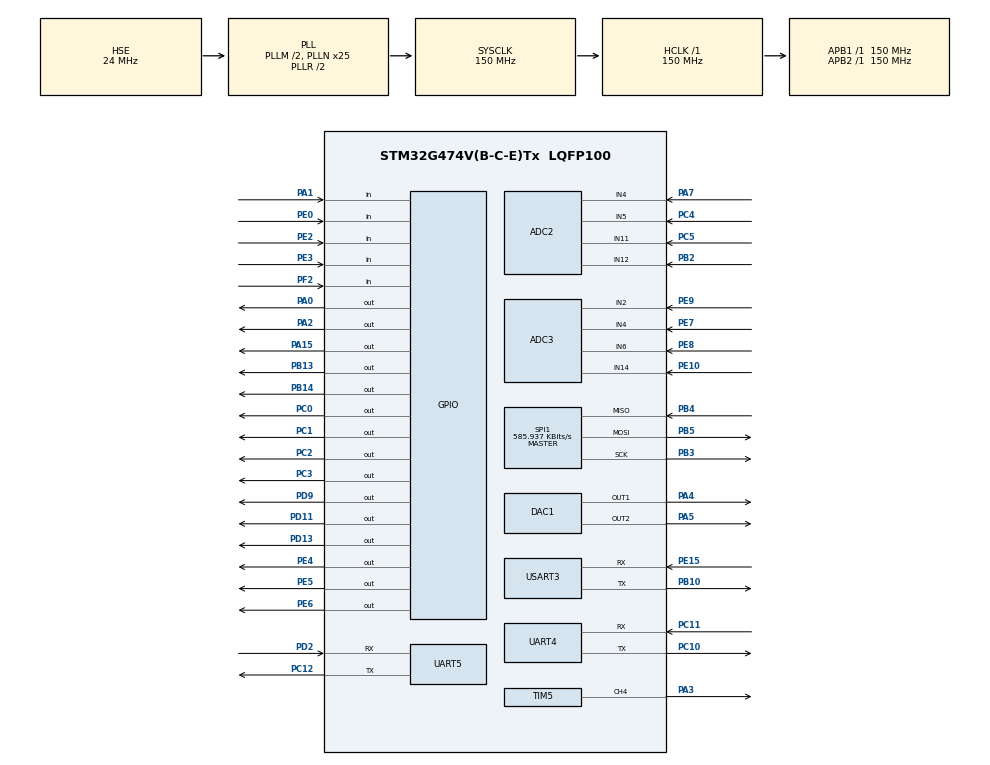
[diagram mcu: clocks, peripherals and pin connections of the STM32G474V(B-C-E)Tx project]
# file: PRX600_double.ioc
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ADC2.Channel-0\#ChannelRegularConversion=ADC_CHANNEL_4
ADC2.Channel-1\#ChannelRegularConversion=ADC_CHANNEL_11
ADC2.Channel-2\#ChannelRegularConversion=ADC_CHANNEL_12
ADC2.Channel-3\#ChannelRegularConversion=ADC_CHANNEL_5
ADC2.DMAContinuousRequests=ENABLE
ADC2.DiscontinuousConvMode=DISABLE
ADC2.ExternalTrigConv=ADC_EXTERNALTRIG_T2_TRGO
ADC2.NbrOfConversion=4
ADC2.NbrOfConversionFlag=1
ADC2.OffsetNumber-0\#ChannelRegularConversion=ADC_OFFSET_NONE
ADC2.OffsetNumber-1\#ChannelRegularConversion=ADC_OFFSET_NONE
ADC2.OffsetNumber-2\#ChannelRegularConversion=ADC_OFFSET_NONE
ADC2.OffsetNumber-3\#ChannelRegularConversion=ADC_OFFSET_NONE
ADC2.Overrun=ADC_OVR_DATA_OVERWRITTEN
ADC2.OversamplingMode=DISABLE
ADC2.Rank-0\#ChannelRegularConversion=1
ADC2.Rank-1\#ChannelRegularConversion=2
ADC2.Rank-2\#ChannelRegularConversion=3
ADC2.Rank-3\#ChannelRegularConversion=4
ADC2.SamplingTime-0\#ChannelRegularConversion=ADC_SAMPLETIME_24CYCLES_5
ADC2.SamplingTime-1\#ChannelRegularConversion=ADC_SAMPLETIME_24CYCLES_5
ADC2.SamplingTime-2\#ChannelRegularConversion=ADC_SAMPLETIME_24CYCLES_5
ADC2.SamplingTime-3\#ChannelRegularConversion=ADC_SAMPLETIME_24CYCLES_5
ADC3.Channel-0\#ChannelRegularConversion=ADC_CHANNEL_14
ADC3.Channel-1\#ChannelRegularConversion=ADC_CHANNEL_4
ADC3.Channel-2\#ChannelRegularConversion=ADC_CHANNEL_2
ADC3.Channel-3\#ChannelRegularConversion=ADC_CHANNEL_6
ADC3.ClockPrescaler=ADC_CLOCK_SYNC_PCLK_DIV4
ADC3.ContinuousConvMode=DISABLE
ADC3.DMAContinuousRequests=ENABLE
ADC3.DiscontinuousConvMode=DISABLE
ADC3.ExternalTrigConv=ADC_EXTERNALTRIG_T2_TRGO
ADC3.NbrOfConversion=4
ADC3.NbrOfConversionFlag=1
ADC3.OffsetNumber-0\#ChannelRegularConversion=ADC_OFFSET_NONE
ADC3.OffsetNumber-1\#ChannelRegularConversion=ADC_OFFSET_NONE
ADC3.OffsetNumber-2\#ChannelRegularConversion=ADC_OFFSET_NONE
ADC3.OffsetNumber-3\#ChannelRegularConversion=ADC_OFFSET_NONE
ADC3.Overrun=ADC_OVR_DATA_OVERWRITTEN
ADC3.OversamplingMode=DISABLE
ADC3.Rank-0\#ChannelRegularConversion=1
ADC3.Rank-1\#ChannelRegularConversion=2
ADC3.Rank-2\#ChannelRegularConversion=3
ADC3.Rank-3\#ChannelRegularConversion=4
ADC3.SamplingTime-0\#ChannelRegularConversion=ADC_SAMPLETIME_24CYCLES_5
ADC3.SamplingTime-1\#ChannelRegularConversion=ADC_SAMPLETIME_24CYCLES_5
ADC3.SamplingTime-2\#ChannelRegularConversion=ADC_SAMPLETIME_24CYCLES_5
ADC3.SamplingTime-3\#ChannelRegularConversion=ADC_SAMPLETIME_24CYCLES_5
ADC3.master=1
DAC1.DAC_Channel-DAC_OUT2=DAC_CHANNEL_2
DAC1.DAC_OutputBuffer-DAC_OUT1=DAC_OUTPUTBUFFER_DISABLE
DAC1.DAC_OutputBuffer-DAC_OUT2=DAC_OUTPUTBUFFER_DISABLE
Dma.ADC2.0.Direction=DMA_PERIPH_TO_MEMORY
Dma.ADC2.0.EventEnable=DISABLE
Dma.ADC2.0.Instance=DMA1_Channel2
Dma.ADC2.0.MemDataAlignment=DMA_MDATAALIGN_HALFWORD
Dma.ADC2.0.MemInc=DMA_MINC_ENABLE
Dma.ADC2.0.Mode=DMA_CIRCULAR
Dma.ADC2.0.PeriphDataAlignment=DMA_PDATAALIGN_HALFWORD
Dma.ADC2.0.PeriphInc=DMA_PINC_DISABLE
Dma.ADC2.0.Polarity=HAL_DMAMUX_REQ_GEN_RISING
Dma.ADC2.0.Priority=DMA_PRIORITY_LOW
Dma.ADC2.0.RequestNumber=1
Dma.ADC2.0.SignalID=NONE
Dma.ADC2.0.SyncEnable=DISABLE
Dma.ADC2.0.SyncPolarity=HAL_DMAMUX_SYNC_NO_EVENT
Dma.ADC2.0.SyncRequestNumber=1
Dma.ADC2.0.SyncSignalID=NONE
Dma.ADC3.1.Direction=DMA_PERIPH_TO_MEMORY
Dma.ADC3.1.EventEnable=DISABLE
Dma.ADC3.1.Instance=DMA2_Channel2
Dma.ADC3.1.MemDataAlignment=DMA_MDATAALIGN_HALFWORD
Dma.ADC3.1.MemInc=DMA_MINC_ENABLE
Dma.ADC3.1.Mode=DMA_CIRCULAR
Dma.ADC3.1.PeriphDataAlignment=DMA_PDATAALIGN_HALFWORD
Dma.ADC3.1.PeriphInc=DMA_PINC_DISABLE
Dma.ADC3.1.Polarity=HAL_DMAMUX_REQ_GEN_RISING
Dma.ADC3.1.Priority=DMA_PRIORITY_LOW
Dma.ADC3.1.RequestNumber=1
Dma.ADC3.1.SignalID=NONE
Dma.ADC3.1.SyncEnable=DISABLE
Dma.ADC3.1.SyncPolarity=HAL_DMAMUX_SYNC_NO_EVENT
Dma.ADC3.1.SyncRequestNumber=1
Dma.ADC3.1.SyncSignalID=NONE
Dma.Request0=ADC2
Dma.Request1=ADC3
Mcu.Family=STM32G4
Mcu.Name=STM32G474V(B-C-E)Tx
Mcu.Package=LQFP100
NVIC.DMA1_Channel2_IRQn=true\:0\:0\:false\:false\:true\:false\:true\:true
NVIC.DMA2_Channel2_IRQn=true\:0\:0\:false\:false\:true\:false\:true\:true
NVIC.PriorityGroup=NVIC_PRIORITYGROUP_4
NVIC.SPI1_IRQn=true\:0\:0\:false\:false\:true\:true\:true\:true
NVIC.TIM2_IRQn=true\:0\:0\:false\:false\:true\:true\:true\:true
NVIC.TIM6_DAC_IRQn=true\:0\:0\:false\:false\:true\:true\:true\:true
NVIC.UART4_IRQn=true\:0\:0\:false\:false\:true\:true\:true\:true
NVIC.UART5_IRQn=true\:0\:0\:false\:false\:true\:true\:true\:true
NVIC.USART3_IRQn=true\:0\:0\:false\:false\:true\:true\:true\:true
PA0.PinState=GPIO_PIN_SET
PA0.Signal=GPIO_Output
PA1.Signal=GPIO_Input
PA13.Mode=Serial_Wire
PA13.Signal=SYS_JTMS-SWDIO
PA14.Mode=Serial_Wire
PA14.Signal=SYS_JTCK-SWCLK
PA15.Signal=GPIO_Output
PA2.Signal=GPIO_Output
PA3.Signal=S_TIM5_CH4
PA4.Signal=COMP_DAC11_group
PA5.Signal=COMP_DAC12_group
PA7.Mode=IN4-Single-Ended
PA7.Signal=ADC2_IN4
PB10.Mode=Asynchronous
PB10.Signal=USART3_TX
PB13.Signal=GPIO_Output
PB14.Signal=GPIO_Output
PB2.Mode=IN12-Single-Ended
PB2.Signal=ADC2_IN12
PB3.Mode=Full_Duplex_Master
PB3.Signal=SPI1_SCK
PB4.Mode=Full_Duplex_Master
PB4.Signal=SPI1_MISO
PB5.Mode=Full_Duplex_Master
PB5.Signal=SPI1_MOSI
PC0.Signal=GPIO_Output
PC1.PinState=GPIO_PIN_SET
PC1.Signal=GPIO_Output
PC10.Mode=Asynchronous
PC10.Signal=UART4_TX
PC11.Mode=Asynchronous
PC11.Signal=UART4_RX
PC12.Mode=Asynchronous
PC12.Signal=UART5_TX
PC2.Signal=GPIO_Output
PC3.Signal=GPIO_Output
PC4.Mode=IN5-Single-Ended
PC4.Signal=ADC2_IN5
PC5.Mode=IN11-Single-Ended
PC5.Signal=ADC2_IN11
PD11.Signal=GPIO_Output
PD13.Signal=GPIO_Output
PD2.Mode=Asynchronous
PD2.Signal=UART5_RX
PD9.Signal=GPIO_Output
PE0.Signal=GPIO_Input
PE10.Mode=IN14-Single-Ended
PE10.Signal=ADC3_IN14
PE15.Mode=Asynchronous
PE15.Signal=USART3_RX
PE2.Signal=GPIO_Input
PE3.Signal=GPIO_Input
PE4.PinState=GPIO_PIN_SET
PE4.Signal=GPIO_Output
PE5.PinState=GPIO_PIN_SET
PE5.Signal=GPIO_Output
PE6.PinState=GPIO_PIN_SET
PE6.Signal=GPIO_Output
PE7.Mode=IN4-Single-Ended
PE7.Signal=ADC3_IN4
PE8.Mode=IN6-Single-Ended
PE8.Signal=ADC3_IN6
PE9.Mode=IN2-Single-Ended
PE9.Signal=ADC3_IN2
PF0-OSC_IN.Mode=HSE-External-Oscillator
PF0-OSC_IN.Signal=RCC_OSC_IN
PF1-OSC_OUT.Mode=HSE-External-Oscillator
PF1-OSC_OUT.Signal=RCC_OSC_OUT
PF2.Signal=GPIO_Input
ProjectManager.HeapSize=0x200
ProjectManager.StackSize=0x400
ProjectManager.TargetToolchain=MDK-ARM V5.32
RCC.ADC12Freq_Value=150000000
RCC.ADC345Freq_Value=150000000
RCC.AHBFreq_Value=150000000
RCC.APB1Freq_Value=150000000
RCC.APB1TimFreq_Value=150000000
RCC.APB2Freq_Value=150000000
RCC.APB2TimFreq_Value=150000000
RCC.CortexFreq_Value=150000000
RCC.EXTERNAL_CLOCK_VALUE=12288000
RCC.HCLKFreq_Value=150000000
RCC.HSE_VALUE=24000000
RCC.HSI48_VALUE=48000000
RCC.HSI_VALUE=16000000
RCC.LSE_VALUE=32768
RCC.PLLM=RCC_PLLM_DIV2
RCC.PLLN=25
RCC.PLLSourceVirtual=RCC_PLLSOURCE_HSE
RCC.SYSCLKFreq_VALUE=150000000
RCC.SYSCLKSource=RCC_SYSCLKSOURCE_PLLCLK
RCC.USBFreq_Value=150000000
RCC.VCOOutputFreq_Value=300000000
SH.COMP_DAC11_group.0=DAC1_OUT1,DAC_OUT1
SH.COMP_DAC12_group.0=DAC1_OUT2,DAC_OUT2
SH.S_TIM5_CH4.0=TIM5_CH4,PWM Generation4 CH4
SPI1.BaudRatePrescaler=SPI_BAUDRATEPRESCALER_256
SPI1.CalculateBaudRate=585.937 KBits/s
SPI1.DataSize=SPI_DATASIZE_8BIT
SPI1.Direction=SPI_DIRECTION_2LINES
SPI1.Mode=SPI_MODE_MASTER
SPI1.VirtualType=VM_MASTER
TIM2.Channel-PWM\ Generation2\ No\ Output=TIM_CHANNEL_2
TIM2.PeriodNoDither=99
TIM2.Prescaler=74
TIM2.PulseNoDither_2=49
TIM2.TIM_MasterOutputTrigger=TIM_TRGO_OC2REF
TIM2.TIM_MasterSlaveMode=TIM_MASTERSLAVEMODE_ENABLE
TIM5.AutoReloadPreload=TIM_AUTORELOAD_PRELOAD_ENABLE
TIM5.Channel-PWM\ Generation4\ CH4=TIM_CHANNEL_4
TIM5.PeriodNoDither=2999
USART3.VirtualMode-Asynchronous=VM_ASYNC
VP_SYS_VS_DBSignals.Mode=DisableDeadBatterySignals
VP_TIM2_VS_no_output2.Mode=PWM Generation2 No Output
board=custom

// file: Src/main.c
/* USER CODE BEGIN Header */
/**
  ******************************************************************************
  * @file           : main.c
  * @brief          : Main program body
  ******************************************************************************
  * @attention
  *
  * Copyright (c) 2025 STMicroelectronics.
  * All rights reserved.
  *
  * This software is licensed under terms that can be found in the LICENSE file
  * in the root directory of this software component.
  * If no LICENSE file comes with this software, it is provided AS-IS.
  *
  ******************************************************************************
  */
/* USER CODE END Header */
#include "main.h"
#include "adc.h"
#include "dac.h"
#include "dma.h"
#include "spi.h"
#include "tim.h"
#include "usart.h"
#include "gpio.h"

/* USER CODE BEGIN Includes */
#include "ct_exposure.h"
#include "app_uart.h"
#include "comm_string.h"
#include "app_spi.h"
#include "xray.h"
#include "app_fun.h"
#include "protect.h"
#include "stdio.h"
#include "calibrate.h"
#include "debug_mode.h"
#include "delay.h"
#include "updata.h"
/* USER CODE END Includes */

void SystemClock_Config(void);

int main(void)
{

    /* MCU Configuration--------------------------------------------------------*/

    /* Reset of all peripherals, Initializes the Flash interface and the Systick. */
    HAL_Init();

    /* Configure the system clock */
    SystemClock_Config();

    /* Initialize all configured peripherals */
    MX_GPIO_Init();
    MX_DMA_Init();
    MX_ADC2_Init();
    MX_ADC3_Init();
    MX_DAC1_Init();
    MX_UART4_Init();
    MX_UART5_Init();
    MX_USART3_UART_Init();
    MX_SPI1_Init();
    MX_TIM5_Init();
    MX_TIM2_Init();

    /* Infinite loop */
    /* USER CODE BEGIN WHILE */
    debug_tx3("123\r\n");

    uint8_t rely_state = 0;
    uint32_t rely_time = 0;
    HAL_TIM_Base_Start_IT(&htim2);
    bsp_read_info();

    registerFunc_init();
    HAL_TIM_PWM_Start(&htim2, TIM_CHANNEL_2);
    HAL_ADCEx_Calibration_Start(&hadc2, ADC_SINGLE_ENDED);
    HAL_ADC_Start_DMA(&hadc2, (uint32_t*)adc_buffer2, ADC_2_CHANNEL_NUM * ADC_SAMPLE_CYCLE_NUM);
    HAL_ADCEx_Calibration_Start(&hadc3, ADC_SINGLE_ENDED);
    HAL_ADC_Start_DMA(&hadc3, (uint32_t*)adc_buffer3, ADC_3_CHANNEL_NUM * ADC_SAMPLE_CYCLE_NUM);

    HAL_DAC_SetValue(&hdac1, DAC_CHANNEL_1, DAC_ALIGN_12B_R, 0);
    HAL_DAC_SetValue(&hdac1, DAC_CHANNEL_2, DAC_ALIGN_12B_R, 0);

    HAL_TIM_PWM_Start(&htim5, TIM_CHANNEL_4);
    //PWM输出强制为低
    __HAL_TIM_SET_COMPARE(&htim5, TIM_CHANNEL_4, 0); //占空比的设置直接决定了输出电压的高低（经过滤波器后作为类DA使用）
    //关于占空比 需定义 duty_max / duty_min  Vout ≈ Duty * VDD 需测试做类比线性关系
    HAL_ADC_Start_DMA(&hadc2, (uint32_t*)adc_buffer2, ADC_2_CHANNEL_NUM * ADC_SAMPLE_CYCLE_NUM);
    HAL_ADC_Start_DMA(&hadc3, (uint32_t*)adc_buffer3, ADC_3_CHANNEL_NUM * ADC_SAMPLE_CYCLE_NUM);
    load_from_flash(parm_table);

    ctrl_data.interlock = 1;//整机不用
    cali_data.para_save_flag = 0;

    xray_data.isCheckAvailable = 0;
    xray_on_led(0);

    if (ctrl_data.hv_vol_fault || ctrl_data.hv_curr_fault)
    {
        /*灯丝复位*/
        config_reset_signal(1);
        fault_value_clear();
			  config_reset_signal(0);
    }

    HAL_GPIO_WritePin(GPIOD, GPIO_PIN_13, GPIO_PIN_SET);

//    cali_data.para_save_flag =1;
    while (1)
    {
        /* USER CODE END WHILE */

        /* USER CODE BEGIN 3 */
        if (rely_state == 0)
        {
            if ((get_tick_ms() - rely_time) > 2000)
            {
                HAL_GPIO_WritePin(HV_RE_GPIO_Port, HV_RE_PIN, Calc_Gpio_State_P(1));
                rely_state = 1;
            }
        }
				if(rely_state == 2)
				{
				config_HVEn_signal(1);
					config_HVEn_signal(0);
				}

        if ((get_hv_state(0) == HVPS_SM_ID_UPDATE_RUN) && (get_hv_state(1) == HVPS_SM_ID_UPDATE_RUN))
        {
            upgrade_proc();
            continue;
        }

        cmd_parser();
        cmd_parser_string();

        Protect_Check_Slow();      //慢速故障检查

        if (cali_data.para_save_flag == 1)
        {
            HAL_TIM_Base_Stop_IT(&htim2);
            save_to_flash(parm_table);
            HAL_TIM_Base_Start_IT(&htim2);
            cali_data.para_save_flag = 0;
        }
        heartBeat_led();

    }
    /* USER CODE END 3 */
}

void SystemClock_Config(void)
{
    RCC_OscInitTypeDef RCC_OscInitStruct = {0};
    RCC_ClkInitTypeDef RCC_ClkInitStruct = {0};

    /** Configure the main internal regulator output voltage
    */
    HAL_PWREx_ControlVoltageScaling(PWR_REGULATOR_VOLTAGE_SCALE1);

    /** Initializes the RCC Oscillators according to the specified parameters
    * in the RCC_OscInitTypeDef structure.
    */
    RCC_OscInitStruct.OscillatorType = RCC_OSCILLATORTYPE_HSE;
    RCC_OscInitStruct.HSEState = RCC_HSE_ON;
    RCC_OscInitStruct.PLL.PLLState = RCC_PLL_ON;
    RCC_OscInitStruct.PLL.PLLSource = RCC_PLLSOURCE_HSE;
    RCC_OscInitStruct.PLL.PLLM = RCC_PLLM_DIV2;
    RCC_OscInitStruct.PLL.PLLN = 25;
    RCC_OscInitStruct.PLL.PLLP = RCC_PLLP_DIV2;
    RCC_OscInitStruct.PLL.PLLQ = RCC_PLLQ_DIV2;
    RCC_OscInitStruct.PLL.PLLR = RCC_PLLR_DIV2;
    if (HAL_RCC_OscConfig(&RCC_OscInitStruct) != HAL_OK)
    {
        Error_Handler();
    }

    /** Initializes the CPU, AHB and APB buses clocks
    */
    RCC_ClkInitStruct.ClockType = RCC_CLOCKTYPE_HCLK | RCC_CLOCKTYPE_SYSCLK
                                  | RCC_CLOCKTYPE_PCLK1 | RCC_CLOCKTYPE_PCLK2;
    RCC_ClkInitStruct.SYSCLKSource = RCC_SYSCLKSOURCE_PLLCLK;
    RCC_ClkInitStruct.AHBCLKDivider = RCC_SYSCLK_DIV1;
    RCC_ClkInitStruct.APB1CLKDivider = RCC_HCLK_DIV1;
    RCC_ClkInitStruct.APB2CLKDivider = RCC_HCLK_DIV1;

    if (HAL_RCC_ClockConfig(&RCC_ClkInitStruct, FLASH_LATENCY_4) != HAL_OK)
    {
        Error_Handler();
    }
}

/* USER CODE BEGIN 4 */
void HAL_TIM_PeriodElapsedCallback(TIM_HandleTypeDef *htim)
{

    /* USER CODE BEGIN Callback 0 */
    /* 1,TIM6 80kHz*/
    /* USER CODE END Callback 0 */
    if (htim->Instance == TIM2)
    {
        ctrl_data.hv_vol_fault  = get_tube_vol_fault_pin();
        ctrl_data.hv_curr_fault = get_tube_curr_fault_pin();
//        ctrl_data.interlock     = get_interLock_pin();
        transform_adc_values();

        if (Is_CTMode())
        {
            //整机烧录
            ctrl_data.expo[0]   = get_expo_pin(0);

            ctrl_data.expo[1]   = get_expo_pin(1);
//                  //其余模式
//            ctrl_data.expo[1]   = get_expo_pin(0);

//            ctrl_data.expo[0]   = get_expo_pin(1);

            ct_task();
        }
        else if (Is_CalibrateMode())
        {
            calibrate_task();
        }
        else if (Is_DebugMode())
        {
            debug_task();
        }

        //故障快速检测
        xray_fast_protect();
        xray_system_fault_check();
    }

    /* USER CODE END Callback 1 */
}
/* USER CODE END 4 */

void Error_Handler(void)
{
    __disable_irq();
    while (1)
    {
    }
}
